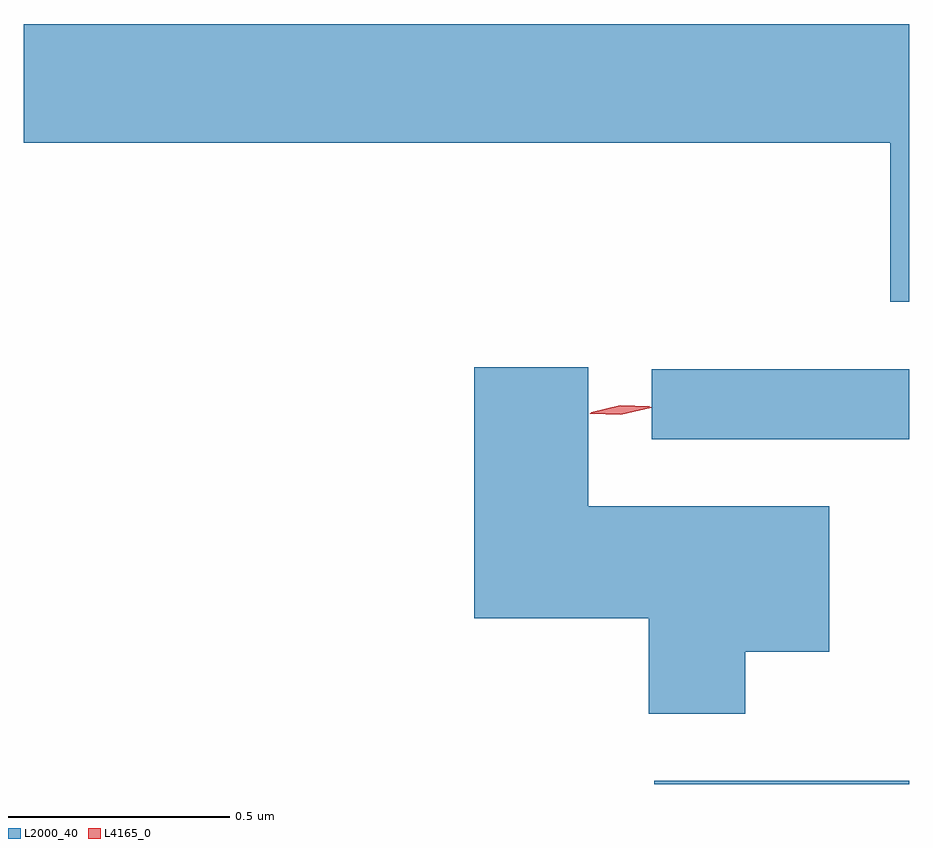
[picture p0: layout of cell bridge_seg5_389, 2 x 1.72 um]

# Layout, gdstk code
import gdstk
lib = gdstk.Library(unit=1e-6, precision=1e-09)
def R(c, l, rs):  # rectangles x0, y0, x1, y1
    for r in rs: c.add(gdstk.rectangle(r[:2], r[2:], *l))
def P(c, l, *ps):  # polygons
    for p in ps: c.add(gdstk.Polygon(p, *l))
L2000_40 = (2000, 40)
L4165_0 = (4165, 0)

bridge_seg5_389 = lib.new_cell('bridge_seg5_389')
R(bridge_seg5_389, L2000_40, [(932.733,1393.187,933.309,1393.194), (932.728,1393.966,933.309,1394.124)])
P(bridge_seg5_389, L2000_40, [(933.309,1394.904),(931.309,1394.904),(931.309,1394.636),(933.266,1394.636),(933.266,1394.276),(933.309,1394.276)],
  [(932.939,1393.486),(933.129,1393.486),(933.129,1393.814),(932.584,1393.814),(932.584,1394.129),(932.326,1394.129),(932.326,1393.561),(932.721,1393.561),(932.721,1393.346),(932.939,1393.346)])
P(bridge_seg5_389, L4165_0, [(932.658,1394.023),(932.591,1394.026),(932.591,1394.027),(932.591,1394.027),(932.656,1394.043),(932.722,1394.04),(932.723,1394.04),(932.722,1394.039)],
  [(932.658,1394.021),(932.589,1394.024),(932.588,1394.024),(932.589,1394.025),(932.656,1394.041),(932.726,1394.038),(932.726,1394.038),(932.726,1394.037)])

lib.write_gds('bridge_seg5_389.gds')
